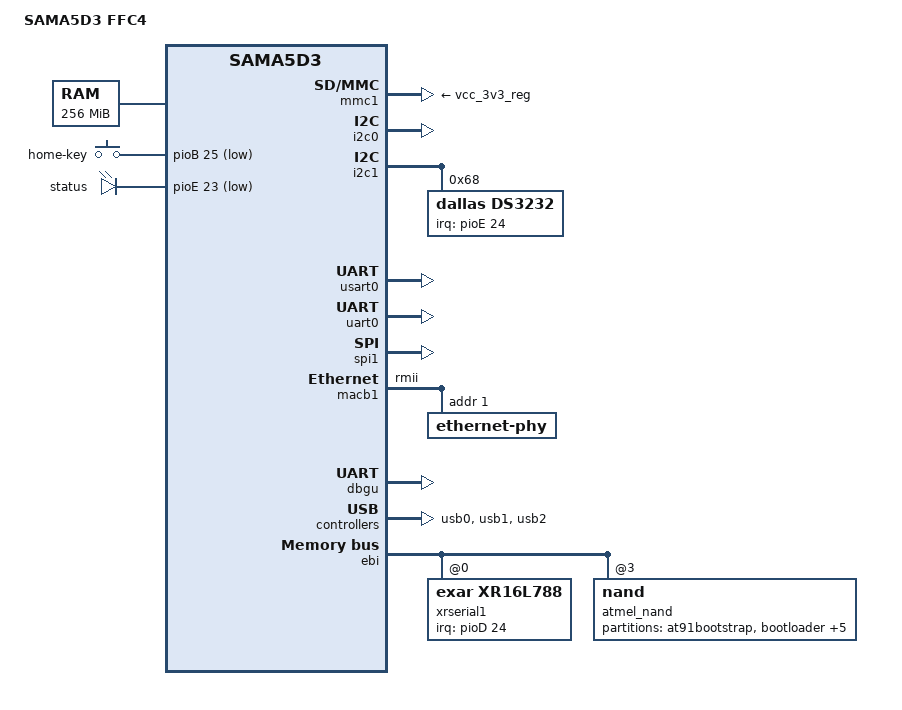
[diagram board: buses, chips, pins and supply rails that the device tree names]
/*
 * at91-sama5d3_ffc4.dts - Device Tree file for the SAMA5D3 ffc4 board
 *
 *  Copyright (C) 2014 Atmel,
 *		  2014 Nicolas Ferre <nicolas.ferre@atmel.com>
 *
 * Licensed under GPLv2 or later.
 */
/dts-v1/;
#include "at91-sama5d3_ffc4_base.dtsi"
#include "sama5d3_gmac.dtsi"
#include "sama5d3_emac.dtsi"
#include "sama5d3_lcd.dtsi"
#include "sama5d3_mci2.dtsi"
#include "sama5d3_tcb1.dtsi"
#include "sama5d3_uart.dtsi"
#include "at91-sama5d3_ffc4_lcd.dtsi"
#include "at91-sama5d3_ffc4_switch.dtsi"

/ {
	model = "SAMA5D3 FFC4";
	compatible = "landisgyr,FFC4", "atmel,sama5d36", "atmel,sama5d3", "atmel,sama5";

	chosen {
		stdout-path = "serial0:115200n8";
	};

	memory {
		reg = <0x20000000 0x10000000>;
	};

	clocks {
		slow_xtal {
			clock-frequency = <32768>;
		};

		main_xtal {
			clock-frequency = <12000000>;
		};
	};

	ahb {
		apb {
			mmc1: mmc@f8000000 {
				vmmc-supply = <&vcc_3v3_reg>;
				vqmmc-supply = <&vcc_3v3_reg>;
				status = "disabled";
				slot@0 {
					reg = <0>;
					bus-width = <4>;
					cd-gpios = <&pioD 20 GPIO_ACTIVE_LOW>;
				};
			};
	
			tcb0: timer@f0010000 {
                timer0: timer@0 {
                    compatible = "atmel,tcb-timer";
                    reg = <0>;
                };

                timer1: timer@1 {
                    compatible = "atmel,tcb-timer";
                    reg = <1>;
                };
            };
			
			i2c0: i2c@f0014000 {
				pinctrl-0 = <&pinctrl_i2c0_pu>;
				status = "okay";
			};

			i2c1: i2c@f0018000 {
				pinctrl-0 = <&pinctrl_i2c1_pu>;
				status = "okay";

				ds3232: rtc@68 {
					compatible = "dallas,ds3232";
					reg = <0x68>;
					interrupt-parent = <&pioE>;
					interrupts = <24 IRQ_TYPE_EDGE_FALLING>;
					status = "okay";
				};

				pmic: act8865@5b {
					compatible = "active-semi,act8865";
					reg = <0x5b>;
					status = "disabled";

					regulators {
						vcc_1v8_reg: DCDC_REG1 {
							regulator-name = "VCC_1V8";
							regulator-min-microvolt = <1800000>;
							regulator-max-microvolt = <1800000>;
							regulator-always-on;
						};

						vcc_1v2_reg: DCDC_REG2 {
							regulator-name = "VCC_1V2";
							regulator-min-microvolt = <1200000>;
							regulator-max-microvolt = <1200000>;
							regulator-always-on;
						};

						vcc_3v3_reg: DCDC_REG3 {
							regulator-name = "VCC_3V3";
							regulator-min-microvolt = <3300000>;
							regulator-max-microvolt = <3300000>;
							regulator-always-on;
						};

						vddfuse_reg: LDO_REG1 {
							regulator-name = "FUSE_2V5";
							regulator-min-microvolt = <2500000>;
							regulator-max-microvolt = <2500000>;
						};

						vddana_reg: LDO_REG2 {
							regulator-name = "VDDANA";
							regulator-min-microvolt = <3300000>;
							regulator-max-microvolt = <3300000>;
							regulator-always-on;
						};
					};
				};
			};

        	usart0: serial@f001c000 {
				status = "okay";
			};
			
        	uart0: serial@f0024000 {
				status = "okay";
			};

			mmc1: mmc@f8000000 {
				pinctrl-0 = <&pinctrl_mmc1_clk_cmd_dat0 &pinctrl_mmc1_dat1_3 &pinctrl_mmc1_cd>;
				status = "okay";
				slot@0 {
					reg = <0>;
					bus-width = <4>;
					cd-gpios = <&pioD 20 GPIO_ACTIVE_HIGH>;
				};
			};

			spi1: spi@f8008000 {
				cs-gpios = <&pioC 25 0>;
				status = "okay";
			};

			/delete-node/ adc@f8018000;

			macb1: ethernet@f802c000 {
				phy-mode = "rmii";
				#address-cells = <1>;
				#size-cells = <0>;
				status = "okay";

				ethernet-phy@1 {
					reg = <0x1>;
				};
			};

			dbgu: serial@ffffee00 {
				status = "okay";
			};
			

			pinctrl@fffff200 {
				board {
					pinctrl_i2c0_pu: i2c0_pu {
						atmel,pins =
							<AT91_PIOA 30 AT91_PERIPH_A AT91_PINCTRL_PULL_UP>,
							<AT91_PIOA 31 AT91_PERIPH_A AT91_PINCTRL_PULL_UP>;
					};

					pinctrl_i2c1_pu: i2c1_pu {
						atmel,pins =
							<AT91_PIOC 26 AT91_PERIPH_B AT91_PINCTRL_NONE	/* PC26 periph B TWD1 pin, conflicts with SPI1_NPCS1, ISI_D11 */
							 AT91_PIOC 27 AT91_PERIPH_B AT91_PINCTRL_NONE>;	/* PC27 periph B TWCK1 pin, conflicts with SPI1_NPCS2, ISI_D10 */
					};

					pinctrl_i2c2_pu: i2c2_pu {
						atmel,pins =
							<AT91_PIOA 18 AT91_PERIPH_B AT91_PINCTRL_PULL_UP>,
							<AT91_PIOA 19 AT91_PERIPH_B AT91_PINCTRL_PULL_UP>;
					};

					pinctrl_key_gpio: key_gpio_0 {
						atmel,pins =
							<AT91_PIOB 25 AT91_PERIPH_GPIO AT91_PINCTRL_PULL_UP_DEGLITCH>;
					};

					pinctrl_mmc1_cd: mmc1_cd {
						atmel,pins =
							<AT91_PIOD 20 AT91_PERIPH_GPIO AT91_PINCTRL_PULL_UP_DEGLITCH>;
					};

					pinctrl_usba_vbus: usba_vbus {
						atmel,pins =
							<AT91_PIOE 9 AT91_PERIPH_GPIO AT91_PINCTRL_DEGLITCH>;	/* PE9, conflicts with A9 */
					};
				};
			};
		};

		usb0: gadget@500000 {
			atmel,vbus-gpio = <&pioE 9 GPIO_ACTIVE_HIGH>;	/* PE9, conflicts with A9 */
			pinctrl-names = "default";
			pinctrl-0 = <&pinctrl_usba_vbus>;
			status = "okay";
		};

		usb1: ohci@600000 {
			num-ports = <3>;
			atmel,vbus-gpio = <0
					   &pioE 3 GPIO_ACTIVE_LOW
					   &pioE 4 GPIO_ACTIVE_LOW
					  >;
			status = "okay";
		};

		usb2: ehci@700000 {
			status = "okay";
		};

		ebi: ebi@10000000 {
			pinctrl-0 = <&pinctrl_ebi_uart_addr &pinctrl_ebi_cs0 &pinctrl_ebi_cs1 &pinctrl_ebi_cs2>;
			pinctr-name = "default";
			status = "okay";

			xrserial1: xrserial@0,0 {
				compatible = "exar,xr16l788";

				#address-cells = <1>;
				#size-cells = <1>;
				reg = <0x0 0x0 0x1000>;
				interrupt-parent = <&pioD>;
				interrupts = <24 IRQ_TYPE_EDGE_FALLING>;
				
				status = "okay";
				
				atmel,smc-bus-width = <8>;
				atmel,smc-read-mode = "nrd";
				atmel,smc-write-mode = "nwe";
				atmel,smc-ncs-rd-setup-ns = <15>;
				atmel,smc-ncs-wr-setup-ns = <15>;
				atmel,smc-nwe-setup-ns = <45>;
				atmel,smc-nrd-setup-ns = <45>;
				atmel,smc-ncs-rd-pulse-ns = <210>;
				atmel,smc-ncs-wr-pulse-ns = <210>;
				atmel,smc-nrd-pulse-ns = <180>;
				atmel,smc-nwe-pulse-ns = <180>;
				atmel,smc-nrd-cycle-ns = <235>;	 
				atmel,smc-nwe-cycle-ns = <235>; 
				atmel,smc-tdf-ns = <30>;
			};
			
			nand_controller: nand-controller {
				status = "okay";
				
				
				pinctrl-0 = <&pinctrl_ebi_nand_addr>;
				pinctrl-names = "default"; 

				nand@3 {
					reg = <0x3 0x0 0x800000>;
					atmel,rb = <0>;
					nand-bus-width = <8>;
					nand-ecc-mode = "hw";
					nand-ecc-strength = <8>;
					nand-ecc-step-size = <512>;
					nand-on-flash-bbt;
					label = "atmel_nand";

					partitions {
						compatible = "fixed-partitions";
						#address-cells = <1>;
						#size-cells = <1>;

						at91bootstrap@0 {
							label = "at91bootstrap";
							reg = <0x0 0x80000>;
						};

						bootloader@80000 {
							label = "bootloader";
							reg = <0x80000 0x100000>;
						};

						bootloaderenvred@180000 {
							label = "bootloader env redundant";
							reg = <0x180000 0x80000>;
						};

						bootloaderenv@200000 {
							label = "bootloader env";
							reg = <0x200000 0x80000>;
						};

						dtb@280000 {
							label = "device tree";
							reg = <0x280000 0x80000>;
						};

						kernel@300000 {
							label = "kernel";
							reg = <0x300000 0x600000>;
						};

						rootfs@800000 {
							label = "rootfs";
							reg = <0x900000 0x7f700000>;
						};
					};
				};
			};
		};
	};
		
	gpio_keys {
		compatible = "gpio-keys";

		pinctrl-names = "default";
		pinctrl-0 = <&pinctrl_key_gpio>;

		home-key {
			label = "home-key";
			gpios = <&pioB 25 GPIO_ACTIVE_LOW>;
			linux,code = <0x104>;
			wakeup-source;
		};
	};

	leds {
		compatible = "gpio-leds";

		system-status {
			label = "status";
			gpios = <&pioE 23 GPIO_ACTIVE_LOW>;	/* PE23, conflicts with A23, CTS2 */
			linux,default-trigger = "heartbeat";
		};
	};
};
